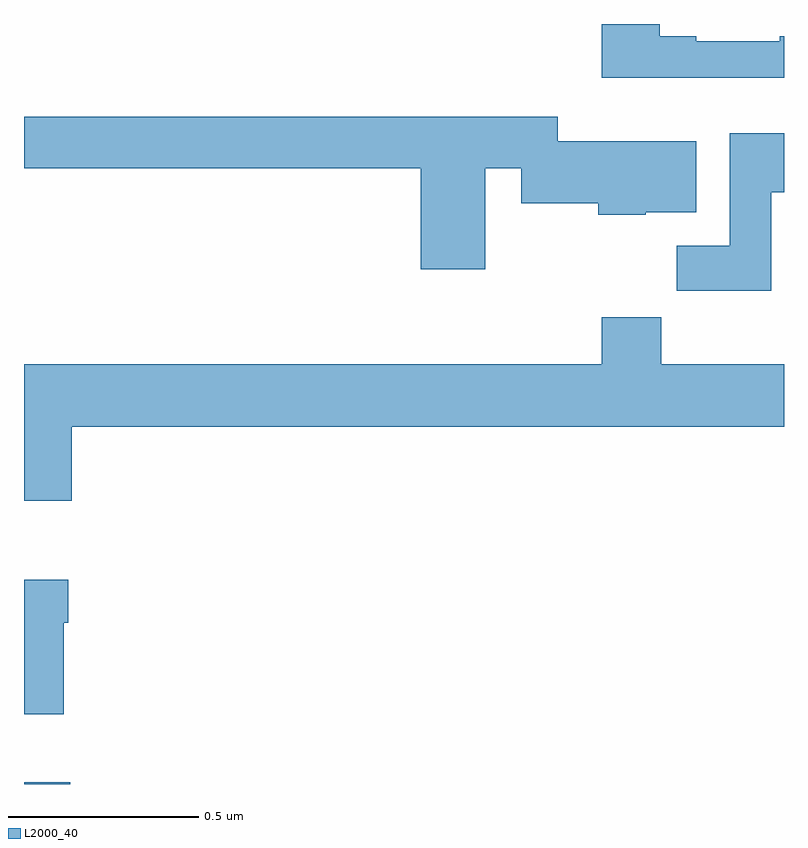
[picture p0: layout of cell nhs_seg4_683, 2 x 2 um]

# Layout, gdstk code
import gdstk
lib = gdstk.Library(unit=1e-6, precision=1e-09)
def R(c, l, rs):  # rectangles x0, y0, x1, y1
    for r in rs: c.add(gdstk.rectangle(r[:2], r[2:], *l))
def P(c, l, *ps):  # polygons
    for p in ps: c.add(gdstk.Polygon(p, *l))
L2000_40 = (2000, 40)

nhs_seg4_683 = lib.new_cell('nhs_seg4_683')
R(nhs_seg4_683, L2000_40, [(119,775.9,119.122,775.905)])
P(nhs_seg4_683, L2000_40, [(121,777.868),(120.989,777.868),(120.989,777.855),(120.769,777.855),(120.769,777.868),(120.673,777.868),(120.673,777.9),(120.521,777.9),(120.521,777.758),(121,777.758)],
  [(120.214,777.52),(120.309,777.52),(120.309,777.428),(120.511,777.428),(120.511,777.398),(120.636,777.398),(120.636,777.404),(120.769,777.404),(120.769,777.592),(120.405,777.592),(120.405,777.656),(119,777.656),(119,777.52),(120.044,777.52),(120.044,777.255),(120.214,777.255)],
  [(120.967,777.457),(121,777.457),(121,777.613),(120.857,777.613),(120.857,777.316),(120.718,777.316),(120.718,777.198),(120.967,777.198)],
  [(119.126,776.84),(121,776.84),(121,777.004),(120.677,777.004),(120.677,777.128),(120.521,777.128),(120.521,777.004),(119,777.004),(119,776.646),(119.126,776.646)],
  [(119.104,776.324),(119.117,776.324),(119.117,776.437),(119,776.437),(119,776.084),(119.104,776.084)])

lib.write_gds('nhs_seg4_683.gds')
